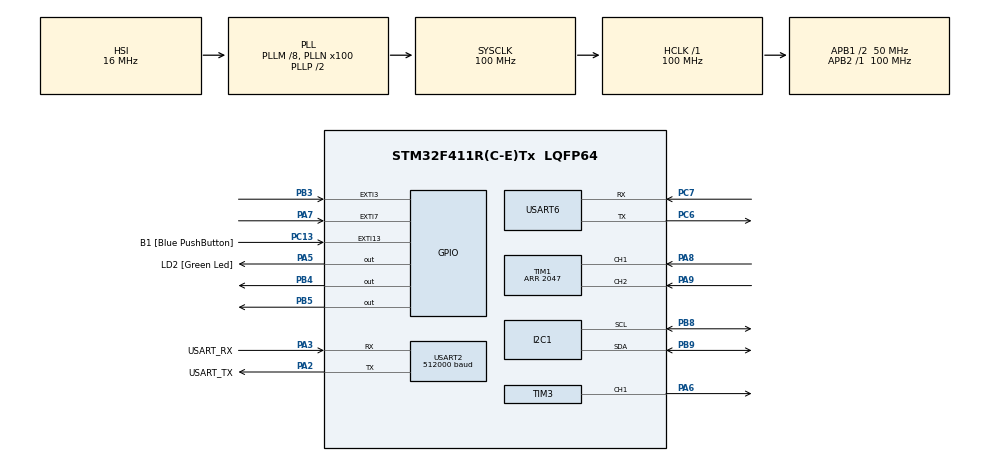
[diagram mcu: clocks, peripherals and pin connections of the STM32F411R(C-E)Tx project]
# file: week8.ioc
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Mcu.Family=STM32F4
RCC.CortexFreq_Value=100000000
NVIC.I2C1_EV_IRQn=true\:0\:0\:false\:false\:true\:true\:true
Dma.USART2_TX.1.MemInc=DMA_MINC_ENABLE
PA14.GPIO_Label=TCK
USART2.Parity=PARITY_EVEN
NVIC.EXTI3_IRQn=true\:0\:0\:false\:false\:true\:true\:true
TIM1.EncoderMode=TIM_ENCODERMODE_TI12
RCC.SYSCLKSource=RCC_SYSCLKSOURCE_PLLCLK
ProjectManager.StackSize=0x400
PH0\ -\ OSC_IN.Signal=RCC_OSC_IN
Dma.USART2_RX.0.Priority=DMA_PRIORITY_LOW
Dma.USART2_RX.0.PeriphDataAlignment=DMA_PDATAALIGN_BYTE
RCC.HCLKFreq_Value=100000000
RCC.APB2TimFreq_Value=100000000
TIM3.Period=10000
PC7.Signal=USART6_RX
PB5.PinState=GPIO_PIN_RESET
Dma.USART2_TX.1.Mode=DMA_NORMAL
RCC.AHBFreq_Value=100000000
TIM3.Channel-PWM\ Generation1\ CH1=TIM_CHANNEL_1
RCC.HSE_VALUE=8000000
PC13-ANTI_TAMP.Signal=GPXTI13
PB3.GPIO_PuPd=GPIO_PULLUP
Dma.USART2_RX.0.MemDataAlignment=DMA_MDATAALIGN_BYTE
PC14-OSC32_IN.Mode=LSE-External-Oscillator
PA14.Mode=Serial_Wire
Dma.USART2_TX.1.Instance=DMA1_Stream6
TIM3.Prescaler=99
NVIC.TIM2_IRQn=true\:0\:0\:false\:false\:true\:true\:true
Dma.USART2_RX.0.Instance=DMA1_Stream5
PA8.Signal=S_TIM1_CH1
SH.S_TIM3_CH1.0=TIM3_CH1,PWM Generation1 CH1
NVIC.I2C1_ER_IRQn=true\:0\:0\:false\:false\:true\:true\:true
RCC.FLatency-AdvancedSettings=FLASH_LATENCY_3
PB9.Signal=I2C1_SDA
Mcu.Package=LQFP64
TIM2.Prescaler=99
PA6.Signal=S_TIM3_CH1
Dma.USART2_RX.0.PeriphInc=DMA_PINC_DISABLE
USART2.VirtualMode=VM_ASYNC
USART6.VirtualMode=VM_ASYNC
Dma.USART2_RX.0.FIFOMode=DMA_FIFOMODE_DISABLE
PA2.GPIO_Label=USART_TX
USART2.WordLength=WORDLENGTH_9B
Dma.Request1=USART2_TX
RCC.APB1TimFreq_Value=100000000
TIM1.Period=2047
NVIC.DMA1_Stream6_IRQn=true\:0\:0\:false\:false\:true\:false\:true
Dma.Request0=USART2_RX
VP_TIM3_VS_ClockSourceINT.Mode=Internal
PB4.Signal=GPIO_Output
PB4.GPIO_ModeDefaultOutputPP=GPIO_MODE_OUTPUT_OD
PA3.Signal=USART2_RX
PB5.GPIO_ModeDefaultOutputPP=GPIO_MODE_OUTPUT_OD
PC15-OSC32_OUT.Mode=LSE-External-Oscillator
Dma.USART2_TX.1.Priority=DMA_PRIORITY_LOW
Dma.USART2_TX.1.FIFOMode=DMA_FIFOMODE_DISABLE
PC13-ANTI_TAMP.GPIO_Label=B1 [Blue PushButton]
PH1\ -\ OSC_OUT.Mode=HSE-External-Clock-Source
PC6.Signal=USART6_TX
Dma.USART2_RX.0.Direction=DMA_PERIPH_TO_MEMORY
RCC.APB1CLKDivider=RCC_HCLK_DIV2
PC14-OSC32_IN.Signal=RCC_OSC32_IN
Dma.USART2_TX.1.PeriphDataAlignment=DMA_PDATAALIGN_BYTE
NVIC.USART2_IRQn=true\:0\:0\:false\:false\:true\:true\:true
USART2.BaudRate=512000
Dma.USART2_RX.0.Mode=DMA_CIRCULAR
PA3.Mode=Asynchronous
PA13.Signal=SYS_JTMS-SWDIO
PH0\ -\ OSC_IN.Mode=HSE-External-Clock-Source
SH.S_TIM1_CH1.0=TIM1_CH1,Encoder_Interface
ProjectManager.TargetToolchain=STM32CubeIDE
NVIC.DMA1_Stream5_IRQn=true\:0\:0\:false\:false\:true\:false\:true
PC6.Mode=Asynchronous
PB9.Mode=I2C
PA9.Signal=S_TIM1_CH2
PB4.GPIO_PuPd=GPIO_PULLUP
PC15-OSC32_OUT.Signal=RCC_OSC32_OUT
PA5.Signal=GPIO_Output
PH1\ -\ OSC_OUT.Signal=RCC_OSC_OUT
Dma.USART2_TX.1.PeriphInc=DMA_PINC_DISABLE
board=NUCLEO-F411RE
RCC.VCOOutputFreq_Value=200000000
NVIC.TIM3_IRQn=true\:0\:0\:false\:false\:true\:true\:true
Dma.USART2_TX.1.Direction=DMA_MEMORY_TO_PERIPH
RCC.APB2Freq_Value=100000000
SH.S_TIM1_CH2.0=TIM1_CH2,Encoder_Interface
VP_TIM2_VS_ClockSourceINT.Mode=Internal
TIM1.IC2Filter=5
TIM2.Period=4294967295
PA13.Mode=Serial_Wire
Mcu.Name=STM32F411R(C-E)Tx
Dma.USART2_RX.0.MemInc=DMA_MINC_ENABLE
PA2.Signal=USART2_TX
PA13.GPIO_Label=TMS
RCC.48MHZClocksFreq_Value=50000000
PB3.Signal=GPXTI3
RCC.SYSCLKFreq_VALUE=100000000
PB5.Signal=GPIO_Output
PA5.GPIO_Label=LD2 [Green Led]
TIM1.IC1Filter=3
PB5.GPIO_PuPd=GPIO_PULLUP
PC13-ANTI_TAMP.GPIO_ModeDefaultEXTI=GPIO_MODE_IT_FALLING
NVIC.EXTI9_5_IRQn=true\:0\:0\:false\:false\:true\:true\:true
PA14.Signal=SYS_JTCK-SWCLK
ProjectManager.HeapSize=0x200
RCC.HSI_VALUE=16000000
NVIC.PriorityGroup=NVIC_PRIORITYGROUP_0
RCC.PLLM=8
PB8.Mode=I2C
RCC.PLLN=100
PA2.Mode=Asynchronous
PB8.Signal=I2C1_SCL
Dma.USART2_TX.1.MemDataAlignment=DMA_MDATAALIGN_BYTE
PC7.Mode=Asynchronous
RCC.APB1Freq_Value=50000000
PA3.GPIO_Label=USART_RX
PA7.Signal=GPXTI7

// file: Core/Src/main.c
/* USER CODE BEGIN Header */
/**
 ******************************************************************************
 * @file           : main.c
 * @brief          : Main program body
 ******************************************************************************
 * @attention
 *
 * <h2><center>&copy; Copyright (c) 2021 STMicroelectronics.
 * All rights reserved.</center></h2>
 *
 * This software component is licensed by ST under BSD 3-Clause license,
 * the "License"; You may not use this file except in compliance with the
 * License. You may obtain a copy of the License at:
 *                        opensource.org/licenses/BSD-3-Clause
 *
 ******************************************************************************
 */
/* USER CODE END Header */
#include "main.h"

/* USER CODE BEGIN Includes */
#include <math.h>
#include <stdlib.h>
/* USER CODE END Includes */

/* USER CODE BEGIN PD */
#define MAX_PACKET_LEN 255
/* USER CODE END PD */

I2C_HandleTypeDef hi2c1;

TIM_HandleTypeDef htim1;
TIM_HandleTypeDef htim2;
TIM_HandleTypeDef htim3;

UART_HandleTypeDef huart2;
UART_HandleTypeDef huart6;
DMA_HandleTypeDef hdma_usart2_rx;
DMA_HandleTypeDef hdma_usart2_tx;

/* USER CODE BEGIN PV */
typedef struct _UartStructure
{
	UART_HandleTypeDef *huart;
	uint16_t TxLen, RxLen;
	uint8_t *TxBuffer;
	uint16_t TxTail, TxHead;
	uint8_t *RxBuffer;
	uint16_t RxTail; //RXHeadUseDMA

} UARTStucrture;
UARTStucrture UART2 =
{ 0 };

uint8_t MainMemory[255] =
{ 0 };
_Bool checkI2C = 0;
static uint8_t CHECKSUM;
static uint8_t CHECK_SUM1 = 0;
static uint8_t CHECK_SUM3 = 0;
static uint8_t CHECK_SEND = 0;
static uint16_t START = 0;
static uint16_t MODE = 0;
static uint8_t DATAFRAME [256] = { 0 };
static uint8_t DATAFRAME_4 [256] = { 0 };
static int DATAFRAME_5[256] = { 0 };
static uint16_t JUMP = 0;
static uint16_t STATEJUMP = 0;
static uint16_t DATA = 0;
static uint16_t DATA_Byte = 0;
static uint8_t STATION = 0;
static uint8_t DATA_N_SUM = 0;
static uint8_t GO = 0;
static uint16_t Endeffecter = 0;
static uint16_t S = 0;
static uint8_t x = 0;
static uint16_t ACK = 0;
static uint16_t A = 0;
static uint16_t B = 0;
uint16_t XX = 0;
static float Vel_Data = 0; //--------------> Velocity from UI
static uint16_t Pos_Data = 0; //--------------> Position from UI
static uint16_t C_Station = 0; //--------------> Current Station from UI
static uint16_t Gripper = 0; //--------------> Gripper on/off , 1/0
static uint16_t Connect = 0; //--------------> Connect / Disconnect , 1/0
uint16_t store [20] = {0};

//order of station refers to angular position as follow
uint8_t stations[10] = {30,60,90,120,150,180,210,240,270,300};

typedef enum
{
	S_idle,
	S_Start,
	S_Mode,
	S_Mode_1,
	S_Mode_2,
	S_Mode_3,
	S_Mode_4,
	S_Mode_5,
	S_Mode_6,
	S_Mode_7,
	S_Mode_8,
	S_Mode_9,
	S_Mode_10,
	S_Mode_11,
	S_Mode_12,
	S_Mode_13,
	S_Mode_14,
	S_Frame2_DataFrame_1,
	S_Frame2_DataFrame_2,
	S_Frame2_DataFrame_Mode4_1,
	S_Frame2_DataFrame_Mode4_2,
	S_Frame2_DataFrame_Mode5_1,
	S_Frame2_DataFrame_Mode5_2,
	S_Frame3_Station,
	S_Frame3_DataFrame_1,
	S_Frame3_DataFrame_2,
	S_Checksum1,
	S_Checksum1_2,
	S_Checksum2,
	S_Checksum2_4,
	S_Checksum2_5,
	S_Checksum3,
	CheckACK1,
	CheckACK2,
	S_error,
	S_SendACK,
	S_Jump,
	S500,S600,S700,
	//////////////////////////////
	DNMXP_idle,
	DNMXP_1stHeader,
	DNMXP_2ndHeader,
	DNMXP_3rdHeader,
	DNMXP_Reserved,
	DNMXP_ID,
	DNMXP_LEN1,
	DNMXP_LEN2,
	DNMXP_Inst,
	DNMXP_ParameterCollect,
	DNMXP_CRCAndExecute

} DNMXPState;
static DNMXPState State = S_idle;

///////////////////////////////////////////////////////////////<--

int32_t PWMOut = 5000;
uint64_t _micros = 0;
uint8_t cP = 0;
int16_t a = 0;
float EncoderVel = 0;
float sumVel = 0;
float calculatedVelocity = 0;
float velocity = 0;
float position = 0;
float alpha = 0;
float stopError = 0.1;
float tim = 0;
uint8_t check = 0;
_Bool SetHome = 0; //--------------------->> sethome
uint64_t setTime = 0;
float startAngle = 0;
float stopTime = 0;
uint8_t storeAngle = 0;
float finalAngle = 30; //----------------->> Pos_Data
float currentPosition = 0;
float rawPosition[2] = {0};
float accerelation = 0;
uint8_t state[2] = {0};
_Bool start = 0; //---------------------->> go
uint16_t dt = 2000;
uint64_t TimeOutputLoop = 0;
uint64_t Timestamp = 0;
float vMax = 8; //--------------------->> Vel_Data
float Kp = 200;
float Ki = 0.1;
float Kd = 0;
float Kp_p = 1;
float Ki_p = 0.05;
float Kd_p = 0;
float K = 1000;
float R = 0.2;
float Gl = 10;
static float tF = 0;
/* USER CODE END PV */

void SystemClock_Config(void);
static void MX_GPIO_Init(void);
static void MX_DMA_Init(void);
static void MX_USART2_UART_Init(void);
static void MX_TIM1_Init(void);
static void MX_TIM2_Init(void);
static void MX_TIM3_Init(void);
static void MX_USART6_UART_Init(void);
static void MX_I2C1_Init(void);
/* USER CODE BEGIN PFP */
void UARTInit(UARTStucrture *uart);

void UARTResetStart(UARTStucrture *uart);

uint32_t UARTGetRxHead(UARTStucrture *uart);

int16_t UARTReadChar(UARTStucrture *uart);

void UARTTxDumpBuffer(UARTStucrture *uart);

void UARTTxWrite(UARTStucrture *uart, uint8_t *pData, uint16_t len);

unsigned short update_crc(unsigned short crc_accum, unsigned char *data_blk_ptr,
		unsigned short data_blk_size);
void DynamixelProtocal2(uint8_t *Memory, uint8_t MotorID, int16_t dataIn,
		UARTStucrture *uart);

uint64_t micros();
#define  HTIM_ENCODER htim1
float EncoderVelocity_Update();
void pidPosition();
void piVelocity();
void trajectory(uint64_t);
void kalman();
void gotoSethome();
void I2Con();
void I2CprepareRead();
uint8_t findingPosition();
/* USER CODE END PFP */

int main(void)
{

  /* MCU Configuration--------------------------------------------------------*/

  /* Reset of all peripherals, Initializes the Flash interface and the Systick. */
  HAL_Init();

  /* Configure the system clock */
  SystemClock_Config();

  /* Initialize all configured peripherals */
  MX_GPIO_Init();
  MX_DMA_Init();
  MX_USART2_UART_Init();
  MX_TIM1_Init();
  MX_TIM2_Init();
  MX_TIM3_Init();
  MX_USART6_UART_Init();
  MX_I2C1_Init();
  /* USER CODE BEGIN 2 */
	UART2.huart = &huart2;
	UART2.RxLen = 255;
	UART2.TxLen = 255;
	UARTInit(&UART2);
	UARTResetStart(&UART2);
	//start micros
	HAL_TIM_Base_Start_IT(&htim2);
	//Encoder start
	HAL_TIM_Encoder_Start(&htim1, TIM_CHANNEL_ALL);
	//PWM start AIN1
	HAL_TIM_Base_Start(&htim3);
	HAL_TIM_PWM_Start(&htim3,TIM_CHANNEL_1);
	htim3.Instance->CCR1 = 5000;
	I2Con();
  /* USER CODE END 2 */

  /* Infinite loop */
	while (1)
	{

    /* USER CODE BEGIN 3 */

		int16_t inputChar = UARTReadChar(&UART2);
		a = inputChar;
		if (inputChar != -1)
		{
			DynamixelProtocal2(MainMemory, 1, inputChar, &UART2);
		}
		if(Connect == 1){
			findingPosition();
			gotoSethome();
			if (micros() - Timestamp >= dt){
				Timestamp = micros();
				trajectory(Timestamp);
				kalman();
			}
			UARTTxDumpBuffer(&UART2);
		}
		else{
			DynamixelProtocal2(MainMemory, 1,999, &UART2);
		}
	}
  /* USER CODE END 3 */
}

void SystemClock_Config(void)
{
  RCC_OscInitTypeDef RCC_OscInitStruct = {0};
  RCC_ClkInitTypeDef RCC_ClkInitStruct = {0};

  /** Configure the main internal regulator output voltage
  */
  __HAL_RCC_PWR_CLK_ENABLE();
  __HAL_PWR_VOLTAGESCALING_CONFIG(PWR_REGULATOR_VOLTAGE_SCALE1);
  /** Initializes the RCC Oscillators according to the specified parameters
  * in the RCC_OscInitTypeDef structure.
  */
  RCC_OscInitStruct.OscillatorType = RCC_OSCILLATORTYPE_HSI;
  RCC_OscInitStruct.HSIState = RCC_HSI_ON;
  RCC_OscInitStruct.HSICalibrationValue = RCC_HSICALIBRATION_DEFAULT;
  RCC_OscInitStruct.PLL.PLLState = RCC_PLL_ON;
  RCC_OscInitStruct.PLL.PLLSource = RCC_PLLSOURCE_HSI;
  RCC_OscInitStruct.PLL.PLLM = 8;
  RCC_OscInitStruct.PLL.PLLN = 100;
  RCC_OscInitStruct.PLL.PLLP = RCC_PLLP_DIV2;
  RCC_OscInitStruct.PLL.PLLQ = 4;
  if (HAL_RCC_OscConfig(&RCC_OscInitStruct) != HAL_OK)
  {
    Error_Handler();
  }
  /** Initializes the CPU, AHB and APB buses clocks
  */
  RCC_ClkInitStruct.ClockType = RCC_CLOCKTYPE_HCLK|RCC_CLOCKTYPE_SYSCLK
                              |RCC_CLOCKTYPE_PCLK1|RCC_CLOCKTYPE_PCLK2;
  RCC_ClkInitStruct.SYSCLKSource = RCC_SYSCLKSOURCE_PLLCLK;
  RCC_ClkInitStruct.AHBCLKDivider = RCC_SYSCLK_DIV1;
  RCC_ClkInitStruct.APB1CLKDivider = RCC_HCLK_DIV2;
  RCC_ClkInitStruct.APB2CLKDivider = RCC_HCLK_DIV1;

  if (HAL_RCC_ClockConfig(&RCC_ClkInitStruct, FLASH_LATENCY_3) != HAL_OK)
  {
    Error_Handler();
  }
}

static void MX_I2C1_Init(void)
{

  hi2c1.Instance = I2C1;
  hi2c1.Init.ClockSpeed = 100000;
  hi2c1.Init.DutyCycle = I2C_DUTYCYCLE_2;
  hi2c1.Init.OwnAddress1 = 0;
  hi2c1.Init.AddressingMode = I2C_ADDRESSINGMODE_7BIT;
  hi2c1.Init.DualAddressMode = I2C_DUALADDRESS_DISABLE;
  hi2c1.Init.OwnAddress2 = 0;
  hi2c1.Init.GeneralCallMode = I2C_GENERALCALL_DISABLE;
  hi2c1.Init.NoStretchMode = I2C_NOSTRETCH_DISABLE;
  if (HAL_I2C_Init(&hi2c1) != HAL_OK)
  {
    Error_Handler();
  }

}

static void MX_TIM1_Init(void)
{

  TIM_Encoder_InitTypeDef sConfig = {0};
  TIM_MasterConfigTypeDef sMasterConfig = {0};

  htim1.Instance = TIM1;
  htim1.Init.Prescaler = 0;
  htim1.Init.CounterMode = TIM_COUNTERMODE_UP;
  htim1.Init.Period = 2047;
  htim1.Init.ClockDivision = TIM_CLOCKDIVISION_DIV1;
  htim1.Init.RepetitionCounter = 0;
  htim1.Init.AutoReloadPreload = TIM_AUTORELOAD_PRELOAD_DISABLE;
  sConfig.EncoderMode = TIM_ENCODERMODE_TI12;
  sConfig.IC1Polarity = TIM_ICPOLARITY_RISING;
  sConfig.IC1Selection = TIM_ICSELECTION_DIRECTTI;
  sConfig.IC1Prescaler = TIM_ICPSC_DIV1;
  sConfig.IC1Filter = 3;
  sConfig.IC2Polarity = TIM_ICPOLARITY_RISING;
  sConfig.IC2Selection = TIM_ICSELECTION_DIRECTTI;
  sConfig.IC2Prescaler = TIM_ICPSC_DIV1;
  sConfig.IC2Filter = 5;
  if (HAL_TIM_Encoder_Init(&htim1, &sConfig) != HAL_OK)
  {
    Error_Handler();
  }
  sMasterConfig.MasterOutputTrigger = TIM_TRGO_RESET;
  sMasterConfig.MasterSlaveMode = TIM_MASTERSLAVEMODE_DISABLE;
  if (HAL_TIMEx_MasterConfigSynchronization(&htim1, &sMasterConfig) != HAL_OK)
  {
    Error_Handler();
  }

}

static void MX_TIM2_Init(void)
{

  TIM_ClockConfigTypeDef sClockSourceConfig = {0};
  TIM_MasterConfigTypeDef sMasterConfig = {0};

  htim2.Instance = TIM2;
  htim2.Init.Prescaler = 99;
  htim2.Init.CounterMode = TIM_COUNTERMODE_UP;
  htim2.Init.Period = 4294967295;
  htim2.Init.ClockDivision = TIM_CLOCKDIVISION_DIV1;
  htim2.Init.AutoReloadPreload = TIM_AUTORELOAD_PRELOAD_DISABLE;
  if (HAL_TIM_Base_Init(&htim2) != HAL_OK)
  {
    Error_Handler();
  }
  sClockSourceConfig.ClockSource = TIM_CLOCKSOURCE_INTERNAL;
  if (HAL_TIM_ConfigClockSource(&htim2, &sClockSourceConfig) != HAL_OK)
  {
    Error_Handler();
  }
  sMasterConfig.MasterOutputTrigger = TIM_TRGO_RESET;
  sMasterConfig.MasterSlaveMode = TIM_MASTERSLAVEMODE_DISABLE;
  if (HAL_TIMEx_MasterConfigSynchronization(&htim2, &sMasterConfig) != HAL_OK)
  {
    Error_Handler();
  }

}

static void MX_TIM3_Init(void)
{

  TIM_ClockConfigTypeDef sClockSourceConfig = {0};
  TIM_MasterConfigTypeDef sMasterConfig = {0};
  TIM_OC_InitTypeDef sConfigOC = {0};

  htim3.Instance = TIM3;
  htim3.Init.Prescaler = 99;
  htim3.Init.CounterMode = TIM_COUNTERMODE_UP;
  htim3.Init.Period = 10000;
  htim3.Init.ClockDivision = TIM_CLOCKDIVISION_DIV1;
  htim3.Init.AutoReloadPreload = TIM_AUTORELOAD_PRELOAD_DISABLE;
  if (HAL_TIM_Base_Init(&htim3) != HAL_OK)
  {
    Error_Handler();
  }
  sClockSourceConfig.ClockSource = TIM_CLOCKSOURCE_INTERNAL;
  if (HAL_TIM_ConfigClockSource(&htim3, &sClockSourceConfig) != HAL_OK)
  {
    Error_Handler();
  }
  if (HAL_TIM_PWM_Init(&htim3) != HAL_OK)
  {
    Error_Handler();
  }
  sMasterConfig.MasterOutputTrigger = TIM_TRGO_RESET;
  sMasterConfig.MasterSlaveMode = TIM_MASTERSLAVEMODE_DISABLE;
  if (HAL_TIMEx_MasterConfigSynchronization(&htim3, &sMasterConfig) != HAL_OK)
  {
    Error_Handler();
  }
  sConfigOC.OCMode = TIM_OCMODE_PWM1;
  sConfigOC.Pulse = 0;
  sConfigOC.OCPolarity = TIM_OCPOLARITY_HIGH;
  sConfigOC.OCFastMode = TIM_OCFAST_DISABLE;
  if (HAL_TIM_PWM_ConfigChannel(&htim3, &sConfigOC, TIM_CHANNEL_1) != HAL_OK)
  {
    Error_Handler();
  }
  HAL_TIM_MspPostInit(&htim3);

}

static void MX_USART2_UART_Init(void)
{

  huart2.Instance = USART2;
  huart2.Init.BaudRate = 512000;
  huart2.Init.WordLength = UART_WORDLENGTH_9B;
  huart2.Init.StopBits = UART_STOPBITS_1;
  huart2.Init.Parity = UART_PARITY_EVEN;
  huart2.Init.Mode = UART_MODE_TX_RX;
  huart2.Init.HwFlowCtl = UART_HWCONTROL_NONE;
  huart2.Init.OverSampling = UART_OVERSAMPLING_16;
  if (HAL_UART_Init(&huart2) != HAL_OK)
  {
    Error_Handler();
  }

}

static void MX_USART6_UART_Init(void)
{

  huart6.Instance = USART6;
  huart6.Init.BaudRate = 115200;
  huart6.Init.WordLength = UART_WORDLENGTH_8B;
  huart6.Init.StopBits = UART_STOPBITS_1;
  huart6.Init.Parity = UART_PARITY_NONE;
  huart6.Init.Mode = UART_MODE_TX_RX;
  huart6.Init.HwFlowCtl = UART_HWCONTROL_NONE;
  huart6.Init.OverSampling = UART_OVERSAMPLING_16;
  if (HAL_UART_Init(&huart6) != HAL_OK)
  {
    Error_Handler();
  }

}

static void MX_DMA_Init(void)
{

  /* DMA controller clock enable */
  __HAL_RCC_DMA1_CLK_ENABLE();

  /* DMA interrupt init */
  /* DMA1_Stream5_IRQn interrupt configuration */
  HAL_NVIC_SetPriority(DMA1_Stream5_IRQn, 0, 0);
  HAL_NVIC_EnableIRQ(DMA1_Stream5_IRQn);
  /* DMA1_Stream6_IRQn interrupt configuration */
  HAL_NVIC_SetPriority(DMA1_Stream6_IRQn, 0, 0);
  HAL_NVIC_EnableIRQ(DMA1_Stream6_IRQn);

}

static void MX_GPIO_Init(void)
{
  GPIO_InitTypeDef GPIO_InitStruct = {0};

  /* GPIO Ports Clock Enable */
  __HAL_RCC_GPIOC_CLK_ENABLE();
  __HAL_RCC_GPIOH_CLK_ENABLE();
  __HAL_RCC_GPIOA_CLK_ENABLE();
  __HAL_RCC_GPIOB_CLK_ENABLE();

  /*Configure GPIO pin Output Level */
  HAL_GPIO_WritePin(LD2_GPIO_Port, LD2_Pin, GPIO_PIN_RESET);

  /*Configure GPIO pin Output Level */
  HAL_GPIO_WritePin(GPIOB, GPIO_PIN_4|GPIO_PIN_5, GPIO_PIN_RESET);

  /*Configure GPIO pin : B1_Pin */
  GPIO_InitStruct.Pin = B1_Pin;
  GPIO_InitStruct.Mode = GPIO_MODE_IT_FALLING;
  GPIO_InitStruct.Pull = GPIO_NOPULL;
  HAL_GPIO_Init(B1_GPIO_Port, &GPIO_InitStruct);

  /*Configure GPIO pin : LD2_Pin */
  GPIO_InitStruct.Pin = LD2_Pin;
  GPIO_InitStruct.Mode = GPIO_MODE_OUTPUT_PP;
  GPIO_InitStruct.Pull = GPIO_NOPULL;
  GPIO_InitStruct.Speed = GPIO_SPEED_FREQ_LOW;
  HAL_GPIO_Init(LD2_GPIO_Port, &GPIO_InitStruct);

  /*Configure GPIO pin : PA7 */
  GPIO_InitStruct.Pin = GPIO_PIN_7;
  GPIO_InitStruct.Mode = GPIO_MODE_IT_RISING;
  GPIO_InitStruct.Pull = GPIO_NOPULL;
  HAL_GPIO_Init(GPIOA, &GPIO_InitStruct);

  /*Configure GPIO pin : PB3 */
  GPIO_InitStruct.Pin = GPIO_PIN_3;
  GPIO_InitStruct.Mode = GPIO_MODE_IT_RISING;
  GPIO_InitStruct.Pull = GPIO_PULLUP;
  HAL_GPIO_Init(GPIOB, &GPIO_InitStruct);

  /*Configure GPIO pins : PB4 PB5 */
  GPIO_InitStruct.Pin = GPIO_PIN_4|GPIO_PIN_5;
  GPIO_InitStruct.Mode = GPIO_MODE_OUTPUT_OD;
  GPIO_InitStruct.Pull = GPIO_PULLUP;
  GPIO_InitStruct.Speed = GPIO_SPEED_FREQ_LOW;
  HAL_GPIO_Init(GPIOB, &GPIO_InitStruct);

  /* EXTI interrupt init*/
  HAL_NVIC_SetPriority(EXTI3_IRQn, 0, 0);
  HAL_NVIC_EnableIRQ(EXTI3_IRQn);

  HAL_NVIC_SetPriority(EXTI9_5_IRQn, 0, 0);
  HAL_NVIC_EnableIRQ(EXTI9_5_IRQn);

}

/* USER CODE BEGIN 4 */
#define  MAX_SUBPOSITION_OVERFLOW 1536
#define  MAX_ENCODER_PERIOD 2048

void UARTInit(UARTStucrture *uart)
{
	//dynamic memory allocate
	uart->RxBuffer = (uint8_t*) calloc(sizeof(uint8_t), UART2.RxLen);
	uart->TxBuffer = (uint8_t*) calloc(sizeof(uint8_t), UART2.TxLen);
	uart->RxTail = 0;
	uart->TxTail = 0;
	uart->TxHead = 0;

}

void UARTResetStart(UARTStucrture *uart)
{
	HAL_UART_Receive_DMA(uart->huart, uart->RxBuffer, uart->RxLen);
}
uint32_t UARTGetRxHead(UARTStucrture *uart)
{
	return uart->RxLen - __HAL_DMA_GET_COUNTER(uart->huart->hdmarx);
}
int16_t UARTReadChar(UARTStucrture *uart)
{
	int16_t Result = -1; // -1 Mean no new data
	static uint8_t order = 0;
	//check Buffer Position
	if (uart->RxTail != UARTGetRxHead(uart))
	{
		//get data from buffer
		Result = uart->RxBuffer[uart->RxTail];
		uart->RxTail = (uart->RxTail + 1) % uart->RxLen;
		store[order] = Result;
		order += 1;
		order %= 20;

	}
	return Result;

}
void UARTTxDumpBuffer(UARTStucrture *uart)
{
	static uint8_t MultiProcessBlocker = 0;

	if (uart->huart->gState == HAL_UART_STATE_READY && !MultiProcessBlocker)
	{
		MultiProcessBlocker = 1;

		if (uart->TxHead != uart->TxTail)
		{
			//find len of data in buffer (Circular buffer but do in one way)
			uint16_t sentingLen =
					uart->TxHead > uart->TxTail ?
							uart->TxHead - uart->TxTail :
							uart->TxLen - uart->TxTail;

			//sent data via DMA
			HAL_UART_Transmit_DMA(uart->huart, &(uart->TxBuffer[uart->TxTail]),
					sentingLen);
			//move tail to new position
			uart->TxTail = (uart->TxTail + sentingLen) % uart->TxLen;

		}
		MultiProcessBlocker = 0;
	}
}
void UARTTxWrite(UARTStucrture *uart, uint8_t *pData, uint16_t len)
{
	//check data len is more than buffur?
	uint16_t lenAddBuffer = (len <= uart->TxLen) ? len : uart->TxLen;
	// find number of data before end of ring buffer
	uint16_t numberOfdataCanCopy =
			lenAddBuffer <= uart->TxLen - uart->TxHead ?
					lenAddBuffer : uart->TxLen - uart->TxHead;
	//copy data to the buffer
	memcpy(&(uart->TxBuffer[uart->TxHead]), pData, numberOfdataCanCopy);

	//Move Head to new position

	uart->TxHead = (uart->TxHead + lenAddBuffer) % uart->TxLen;
	//Check that we copy all data That We can?
	if (lenAddBuffer != numberOfdataCanCopy)
	{
		memcpy(uart->TxBuffer, &(pData[numberOfdataCanCopy]),
				lenAddBuffer - numberOfdataCanCopy);
	}
	UARTTxDumpBuffer(uart);

}

void DynamixelProtocal2(uint8_t *Memory, uint8_t MotorID, int16_t dataIn,
		UARTStucrture *uart)
{
	//all Static Variable
	//	static DNMXPState State = DNMXP_idle;
	static uint16_t datalen = 0;
	static uint16_t CollectedData = 0;
	static uint8_t inst = 0;
	static uint8_t parameter[256] =
	{ 0 };
	static uint16_t CRCCheck = 0;
	static uint16_t packetSize = 0;
	static uint16_t CRC_accum;

	//Pj. Var.
	A = dataIn ;

	//	Pj.State Machine
	if(dataIn == 999)
	{
		B = 25;
		uint8_t temp[] = {0x46,0x6E};
		UARTTxWrite(uart, temp,2);
	}
	else
	{
		switch (State)
		{
		case CheckACK1:
			if ((dataIn &0xFF) == 0x58)
				State = CheckACK2 ;
		case CheckACK2:
			if ((dataIn &0xFF) == 0x75)
				ACK = 0;
			State = S_idle ;

		case S_idle:
			if (ACK == 1)
			{
				State = CheckACK1;

			}
			else
			{
				if (((dataIn >> 4) & 0xff) == 0x09)
				{
					START = dataIn;
					if ((dataIn &0x0F) == 0x02 || (dataIn &0x0F) == 0x03 || (dataIn &0x0F) >= 0x08) //case 2,3,8-14 Frame#1
					{
						if((dataIn &0x0F) == 0x09 ||(dataIn &0x0F) == 0x0A || (dataIn &0x0F) == 0x0B)
						{
							MODE = dataIn &0x0F ;
							State = S_Checksum1_2;
						}
						else
						{
							MODE = dataIn &0x0F ;
							State = S_Checksum1;
						}

					}
					else if ((dataIn &0x0F) == 0x01 || ((dataIn &0x0F) == 0x06)) //case 1,6 Frame#2
					{
						MODE = dataIn &0x0F ;
						State = S_Frame2_DataFrame_1;
					}
					else if ((dataIn &0x0F) == 0x04) //case 4 Frame#2
					{
						MODE = dataIn &0x0F ;
						State = S_Frame2_DataFrame_1;
					}
					else if ((dataIn &0x0F) == 0x05) //case 5 Frame#2
					{
						MODE = dataIn &0x0F ;
						State = S_Frame2_DataFrame_Mode5_1;
					}
					else if ((dataIn &0x0F) == 0x07) //case 7 Frame#3
					{
						MODE = dataIn &0x0F ;
						State = S_Frame3_Station;
					}
					else
					{
						State = S_idle ;
					}
				}
				else
				{
					State = S_idle ;
				}
			}
			break;

		case S_Frame2_DataFrame_1 :
			DATAFRAME[CollectedData] = dataIn &0xff;
			CollectedData++;
			State = S_Frame2_DataFrame_2;
			break;

		case S_Frame2_DataFrame_2:
			DATAFRAME[CollectedData] = dataIn &0xff;
			vMax = DATAFRAME[CollectedData];
			CollectedData++;
			State = S_Checksum2 ;
			break;

			//	case S_Frame2_DataFrame_Mode4_1 :
			//		DATAFRAME[CollectedData] = dataIn &0xff;
			//		CollectedData++;
			//		State = S_Frame2_DataFrame_Mode4_2;
			//		break;
			//
			//	case S_Frame2_DataFrame_Mode4_2:
			//		DATAFRAME[CollectedData] = dataIn &0xff;
			//		CollectedData++;
			//		State = S_Checksum2_4 ;
			//		break;

		case S_Frame2_DataFrame_Mode5_1 :
			DATAFRAME[CollectedData] = dataIn &0xff;
			finalAngle = DATAFRAME[CollectedData];
			CollectedData++;
			State = S_Frame2_DataFrame_Mode5_2;
			break;

		case S_Frame2_DataFrame_Mode5_2:
			DATAFRAME[CollectedData] = dataIn &0xff;
			finalAngle = (Pos_Data << 8) | DATAFRAME[CollectedData];
			CollectedData++;
			State = S_Checksum2 ;
			break;

		case S_Frame3_Station:
			STATION = dataIn &0xff;
			C_Station = STATION;
			DATA = (STATION) &0xff;
			if(DATA % 2 == 0) 				//EVEN
			{
				DATA_Byte = (DATA/2);
			}
			else							//odd
			{
				DATA_Byte = (DATA+1)/2;
			}
			State = S_Frame3_DataFrame_2;
			break;

		case S500 :
			DATAFRAME[CollectedData] = dataIn &0xff;
			CollectedData++;
			State = S600;
			break;
		case S600 :
			DATAFRAME[CollectedData] = dataIn &0xff;
			CollectedData++;
			State = S700;
			break;
		case S700 :
			DATAFRAME[CollectedData] = dataIn &0xff;
			CollectedData++;
			State = S_Checksum3;
			break;

		case S_Jump :
			State = S_Checksum3;
			break;

		case  S_Frame3_DataFrame_2:
		{
			if (x < DATA_Byte)
			{
				x++;
				S = dataIn &0xff;
				DATA_N_SUM += S;
				DATAFRAME[CollectedData] = S;
				CollectedData++;

			}
			else
			{
				B+=1;
			}
			State = S_Checksum3;
			break;
		}

		case S_Checksum1_2:
			CHECKSUM = dataIn & 0xff ;
			CHECK_SUM1 = ~((0x9 << 4) | MODE );
			if (CHECK_SUM1 == CHECKSUM)
			{
				switch (MODE)
				{
				case 0b1001: //9
				{
					uint8_t temp[] = {0x58,0x75};
					UARTTxWrite(uart, temp, 2);
					CHECK_SEND = ~ (0x99 + (DATAFRAME[CollectedData-2]) + (DATAFRAME[CollectedData-1]));
					uint8_t FRAME2[] = {0x99,(DATAFRAME[CollectedData-2]),(DATAFRAME[CollectedData-1]),CHECK_SEND};
					UARTTxWrite(uart, FRAME2, 4);
					break;
				}
				case 0b1010: //10
				{
					uint8_t temp[] = {0x58,0x75};
					UARTTxWrite(uart, temp, 2);
					CHECK_SEND = ~(0x9A + (DATAFRAME[CollectedData-2]) + (DATAFRAME[CollectedData-1]));
					uint8_t FRAME2[] = {0x9A,(DATAFRAME[CollectedData-2]),(DATAFRAME[CollectedData-1]),CHECK_SEND};
					UARTTxWrite(uart, FRAME2, 4);
					break;
				}
				case 0b1011: //11
				{
					uint8_t temp[] = {0x58,0x75};
					UARTTxWrite(uart, temp, 2);
					CHECK_SEND = ~(0x9B + (DATAFRAME[CollectedData-2]) + (DATAFRAME[CollectedData-1]));
					uint8_t FRAME2[] = {0x9B,(DATAFRAME[CollectedData-2]),(DATAFRAME[CollectedData-1]),CHECK_SEND};
					UARTTxWrite(uart, FRAME2, 4);
					break;
				}
				}

			}
			else
			{
				uint8_t temp[] = {START,0x75,CHECKSUM};
				UARTTxWrite(uart, temp, 3);
			}
			ACK = 1;
			State = S_idle ;
			break;

		case S_Checksum1:
			CHECKSUM = dataIn & 0xff ;
			CHECK_SUM1 = ~((0x9 << 4) | MODE );
			if (CHECK_SUM1 == CHECKSUM)
			{
				switch (MODE)
				{
				case 0b0010: //2
				{
					uint8_t temp[] = {0x58,0x75};
					UARTTxWrite(uart, temp, 2);
					Connect = 1;
					State = S_idle ;
					break;
				}
				case 0b0011: //3
				{
					uint8_t temp[] = {0x58,0x75};
					UARTTxWrite(uart, temp, 2);
					Connect = 0;
					State = S_idle ;
					break;
				}
				case 0b1000: //8
				{
					uint8_t temp[] = {0x58,0x75};
					UARTTxWrite(uart, temp,2);
					HAL_Delay(5000);
					start = 1;
					State = S_idle;
					break;
				}
				case 0b1100: //12
				{
					uint8_t temp[] = {0x58,0x75};
					UARTTxWrite(uart, temp, 2);
					Gripper = 1;
					State = S_idle ;
					break;
				}
				case 0b1101: //13
				{
					uint8_t temp[] = {0x58,0x75};
					UARTTxWrite(uart, temp, 2);
					Gripper = 0;
					State = S_idle ;
					break;
				}
				case 0b1110: //14
				{
					uint8_t temp[] = {0x58,0x75};
					UARTTxWrite(uart, temp, 2);
					State = S_idle ;
					break;
				}
				}

			}
			else
			{
				uint8_t temp[] = {START,0x75,CHECKSUM};
				UARTTxWrite(uart, temp, 3);
				State = S_idle ;
			}
			break;

		case S_Checksum2:
			CHECKSUM = dataIn & 0xff ;
			CHECK_SUM3 = ~( ((0x9 << 4) | MODE) + STATION + DATA_N_SUM);
			CHECK_SUM1 = ~( ((0x9 << 4) | MODE) + ((DATAFRAME[CollectedData-1]) + (DATAFRAME[CollectedData-2])) );
			if (CHECK_SUM1 == CHECKSUM)
			{
				switch (MODE)
				{
				case 0b0001: //1
				{
					uint8_t temp[] = {0x58,0x75};
					UARTTxWrite(uart, temp, 2);
					break;
				}
				case 0b0100: //4
				{
					uint8_t temp[] = {0x58,0x75};
					UARTTxWrite(uart, temp, 2);
					break;
				}
				case 0b0101: //5
				{
					uint8_t temp[] = {0x58,0x75};
					UARTTxWrite(uart, temp, 2);
					break;
				}
				case 0b0110: //6
				{
					uint8_t temp[] = {0x58,0x75};
					UARTTxWrite(uart, temp, 2);
					break;
				}
				case 0b0111: //7
				{
					uint8_t temp[] = {0x58,0x75};
					UARTTxWrite(uart, temp, 2);
					break;
				}
				}
			}
			else
			{
				uint8_t temp[] = {START,0x75,CHECKSUM};
				UARTTxWrite(uart, temp, 3);
			}

			DATA_N_SUM = 0;
			x=0;
			State = S_idle;
			break;

		case S_Checksum3:
			x = 0;
			CHECK_SUM1 = ~( ((0x9 << 4) | MODE) + STATION + DATA_N_SUM);
			CHECKSUM = dataIn & 0xff ;
			if (CHECK_SUM1 == CHECKSUM)
			{
				switch (MODE)
				{
				case 0b0111: //7
				{
					uint8_t temp[] = {0x75};
					UARTTxWrite(uart, temp, 1);
					break;
				}
				}
			}
			else
			{
				uint8_t temp[] = {START,0x75,CHECKSUM};
				UARTTxWrite(uart, temp, 3);
			}
			State = S_idle;
			break;
		}

	}
}

void I2Con(){
	const uint8_t laserAddress = 0x23<<1;
	static uint8_t pdataStart[1] = {0x45};
	HAL_I2C_Master_Transmit_IT(&hi2c1, laserAddress, pdataStart, 1);
}

void I2CprepareRead(){
	const uint8_t laserAddress = 0x23<<1;
	static uint8_t pdataStart[1] = {0x23};
	static uint8_t status[1] = {0x00};
	HAL_I2C_Master_Transmit_IT(&hi2c1, laserAddress, pdataStart, 1);
	if(hi2c1.State == HAL_I2C_STATE_READY){
		HAL_I2C_Master_Receive_IT(&hi2c1, laserAddress, status, 1);
	}
	return status;
}

uint8_t findingPosition(){
	rawPosition[0] = (float)HTIM_ENCODER.Instance->CNT*90/2048;
	if((rawPosition[0] < 10 )&& (rawPosition[1] > 80)){
		cP += 1;
	}
	else if ((rawPosition[0] > 80 )&& (rawPosition[1] < 10)){
		cP -= 1;
	}
	if (cP > 3){
		cP = 0;
	}
	else if (cP < 0){
		cP = 0;
	}
	currentPosition = (float)rawPosition[0] + cP*90;
	rawPosition[1] = rawPosition[0];
}

float EncoderVelocity_Update()
{
	//Save Last state
	static uint32_t EncoderLastPosition = 0;
	static uint64_t EncoderLastTimestamp = 0;

	//read data
	uint32_t EncoderNowPosition = HTIM_ENCODER.Instance->CNT;
	uint64_t EncoderNowTimestamp = micros();

	int32_t EncoderPositionDiff;
	uint64_t EncoderTimeDiff;

	EncoderTimeDiff = EncoderNowTimestamp - EncoderLastTimestamp;
	EncoderPositionDiff = EncoderNowPosition - EncoderLastPosition;

	//compensate overflow and underflow
	if (EncoderPositionDiff >= MAX_SUBPOSITION_OVERFLOW)
	{
		EncoderPositionDiff -= MAX_ENCODER_PERIOD;
	}
	else if (-EncoderPositionDiff >= MAX_SUBPOSITION_OVERFLOW)
	{
		EncoderPositionDiff += MAX_ENCODER_PERIOD;
	}

	//Update Position and time
	EncoderLastPosition = EncoderNowPosition;
	EncoderLastTimestamp = EncoderNowTimestamp;

	//Calculate velocity
	//EncoderTimeDiff is in uS
	return (EncoderPositionDiff * 1000000*2*3.14) / (float) (EncoderTimeDiff *2048*4);

}

void trajectory(uint64_t Timestamp){
	static float a0 = 0;
	static float a1 = 0;
	static float a2 = 0;
	static float a3 = 0;
	static uint64_t setTime = 0;
	state[0] = start;
	rawPosition[0] = HTIM_ENCODER.Instance->CNT*90/2048;
	if((rawPosition[0] < 10 )&& (rawPosition[1] > 87)){
		cP += 1;
	}
	else if ((rawPosition[0] >87 )&& (rawPosition[1] < 10)){
		cP -= 1;
	}
	if (cP > 3){
		cP = 0;
	}
	else if (cP < 0){
		cP = 0;
	}
	currentPosition = rawPosition[0] + cP*90;
	if(state[0] == 1){
		if(state[0] != state[1]){
			setTime = Timestamp;
			startAngle = currentPosition;
		}
		tim = (float) (Timestamp-setTime)/1000000;
		tF = (float) (250*abs(finalAngle-startAngle-storeAngle)/(355*vMax));
		a0 = startAngle;
		a1 = 0;
		a2 = (float) (3/pow(tF,2))*(finalAngle-startAngle);
		a3 = (float) -(2/pow(tF,3))*(finalAngle-startAngle);
		position = (float) a0+ (a1*tim) +(a2*pow(tim,2)) +(a3*pow(tim,3));
		velocity = (float) (a1 +(2*a2*tim) +(3*a3*pow(tim,2)))/6;
		alpha = (float) ((2*a2) +(6*a3*tim))*2*3.14/360;
		if ((abs(currentPosition - finalAngle) < 2)||(tim >= tF)){
			start = 0;
			velocity = 0;
			stopTime = Timestamp;
			DynamixelProtocal2(MainMemory, 1,999, &UART2);
			if(Gripper == 1){
				I2Con();
			}
		}
	}
	rawPosition[1] = rawPosition[0];
}

void pidPosition(){
	static float errorP = 0;
	static float integralP = 0;
	static float derivativeP = 0;
	errorP = position - currentPosition;
	integralP = integralP+errorP;
	velocity = Kp_p*errorP + Ki_p*integralP +Kd_p*(errorP-derivativeP);
	derivativeP = errorP;
	if (velocity > vMax){
		velocity = vMax;
	}
	else if (velocity < -vMax){
		velocity = -vMax;
	}

	if (start == 0){
		velocity = 0;
		errorP = 0;
		integralP = 0;
		derivativeP = 0;
	}
}

void piVelocity(){
	static float error = 0;
	static float integral = 0;
	static float derivative = 0;
	if (velocity == 0){
		PWMOut = 0;
		error = 0;
		integral = 0;
		derivative = 0;
	}
	else{

		error = abs(velocity) - abs(EncoderVel);
		integral = integral+error;
		PWMOut = K + Kp*error + Ki*integral +Kd*(error-derivative);
		derivative = error;
	}
	if (abs(PWMOut) > 10000){
		PWMOut = 10000;
	}
	if(velocity < 0){
		HAL_GPIO_WritePin(GPIOB, GPIO_PIN_4, SET);
		HAL_GPIO_WritePin(GPIOB, GPIO_PIN_5, RESET);
	}
	else if (velocity > 0){
		HAL_GPIO_WritePin(GPIOB, GPIO_PIN_5, SET);
		HAL_GPIO_WritePin(GPIOB, GPIO_PIN_4, RESET);
	}
	htim3.Instance->CCR1 = abs(PWMOut);
	state[1] = state[0];
}
void gotoSethome(){
	if(SetHome == 1){
		if (currentPosition < 70){
			velocity = -1.5;
		}
		else if(currentPosition > 70){
			velocity = 1.5;
		}
		HAL_NVIC_EnableIRQ(EXTI9_5_IRQn);
	}
	piVelocity();
}

void HAL_GPIO_EXTI_Callback(uint16_t GPIO_Pin){
	if(GPIO_Pin == GPIO_PIN_7){
		cP = 0;
		velocity = 0;
		SetHome = 0;
		HAL_NVIC_DisableIRQ(EXTI9_5_IRQn);
	}
}

void kalman(){
	static float omega = 0;
	static float omegaPredict = 0;
	static float omegaPredictPre = 0;
	static float P11predict = 0;
	static float P12predict = 0;
	static float P21predict = 0;
	static float P22predict = 0;
	static float P11predictPRE = 0;
	static float P12predictPRE = 0;
	static float P21predictPRE = 0;
	static float P22predictPRE = 0;
	static float errorVel = 0;
	static float delt = 0;

	delt = (float) dt/1000000;
	omegaPredict =  (float) omegaPredictPre;
	errorVel = (float) EncoderVelocity_Update() - omegaPredict;

	P11predict = (float) P11predictPRE+delt*P21predictPRE+(pow(Gl,2)*pow(delt,4))/4+(pow(delt,2)*(P12predictPRE+delt*P22predictPRE))/delt;
	P12predict = (float) P12predictPRE+delt*P22predictPRE+(pow(Gl,2)*delt*pow(delt,2))/2;
	P21predict = (float) (2*delt*P21predictPRE+pow(Gl,2)*pow(delt,4)+2*P22predictPRE*pow(delt,2))/(2*delt);
	P22predict = (float) pow(Gl,2)*pow(delt,2) +P22predictPRE;

	omega = (float) omegaPredict + (P22predict*errorVel)/(pow(R,2)+P22predict);
	P11predictPRE = (float) P11predict - (P12predict*P21predict)/(pow(R,2)+P22predict);
	P12predictPRE = (float) P12predict - (P12predict*P22predict)/(pow(R,2)+P22predict);
	P21predictPRE = (float) P21predict*(P22predict/(pow(R,2)+P22predict)-1);
	P22predictPRE = (float) P22predict*(P22predict/(pow(R,2)+P22predict)-1);
	omegaPredictPre = omega;
	EncoderVel = omega/0.10472;
	if (velocity == 0){
		P11predict = 0;
		P12predict = 0;
		P21predict = 0;
		P22predict = 0;
		P11predictPRE = 0;
		P12predictPRE = 0;
		P21predictPRE = 0;
		P22predictPRE = 0;
		omegaPredict = 0;
		omegaPredictPre = 0;
		errorVel = 0;
	}
}

void HAL_TIM_PeriodElapsedCallback(TIM_HandleTypeDef *htim)
{
	if (htim == &htim2)
	{
		_micros += 4294967295;
	}
}
uint64_t micros()
{
	return _micros + htim2.Instance->CNT;
}
/* USER CODE END 4 */

void Error_Handler(void)
{
	__disable_irq();
	while (1)
	{
	}
}

/************************ (C) COPYRIGHT STMicroelectronics *****END OF FILE****/
